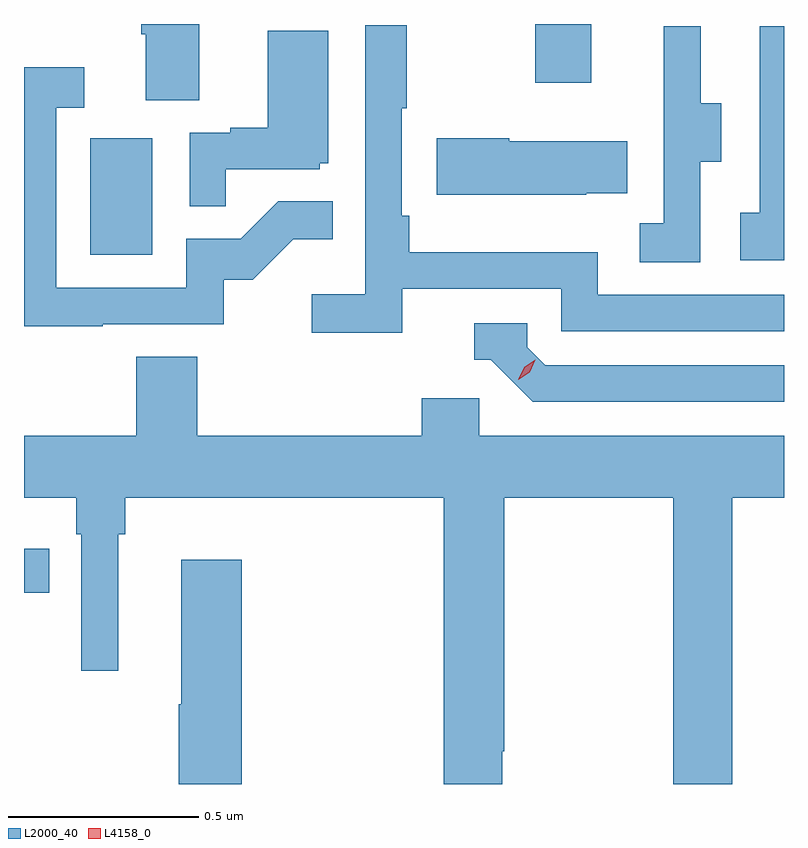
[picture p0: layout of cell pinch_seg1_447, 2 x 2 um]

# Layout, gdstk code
import gdstk
lib = gdstk.Library(unit=1e-6, precision=1e-09)
def R(c, l, rs):  # rectangles x0, y0, x1, y1
    for r in rs: c.add(gdstk.rectangle(r[:2], r[2:], *l))
def P(c, l, *ps):  # polygons
    for p in ps: c.add(gdstk.Polygon(p, *l))
L2000_40 = (2000, 40)
L4158_0 = (4158, 0)

pinch_seg1_447 = lib.new_cell('pinch_seg1_447')
R(pinch_seg1_447, L2000_40, [(925.496,522.178,925.562,522.294), (925.67,523.068,925.834,523.375), (926.842,523.52,926.989,523.675)])
P(pinch_seg1_447, L2000_40, [(925.957,523.675),(925.805,523.675),(925.805,523.648),(925.817,523.648),(925.817,523.474),(925.957,523.474)],
  [(926.492,522.978),(926.91,522.978),(926.91,522.867),(927.496,522.867),(927.496,522.963),(927.006,522.963),(927.006,523.075),(926.51,523.075),(926.51,523.171),(926.49,523.171),(926.49,523.453),(926.503,523.453),(926.503,523.672),(926.394,523.672),(926.394,522.964),(926.253,522.964),(926.253,522.862),(926.492,522.862)],
  [(927.496,523.669),(927.432,523.669),(927.432,523.178),(927.381,523.178),(927.381,523.053),(927.496,523.053)],
  [(927.276,523.312),(927.331,523.312),(927.331,523.467),(927.277,523.467),(927.277,523.669),(927.179,523.669),(927.179,523.455),(927.18,523.455),(927.18,523.151),(927.117,523.151),(927.117,523.048),(927.276,523.048)],
  [(926.027,523.293),(926.274,523.293),(926.274,523.308),(926.296,523.308),(926.296,523.657),(926.138,523.657),(926.138,523.402),(926.039,523.402),(926.039,523.389),(925.932,523.389),(925.932,523.195),(926.027,523.195)],
  [(925.703,522.885),(926.022,522.885),(926.022,523.002),(926.098,523.002),(926.205,523.109),(926.309,523.109),(926.309,523.208),(926.165,523.208),(926.067,523.11),(925.923,523.11),(925.923,522.981),(925.581,522.981),(925.581,523.455),(925.654,523.455),(925.654,523.561),(925.496,523.561),(925.496,522.88),(925.703,522.88)],
  [(926.975,523.229),(927.083,523.229),(927.083,523.366),(926.773,523.366),(926.773,523.374),(926.582,523.374),(926.582,523.226),(926.975,523.226)],
  [(927.496,522.777),(926.868,522.777),(926.82,522.825),(926.82,522.888),(926.681,522.888),(926.681,522.792),(926.724,522.792),(926.835,522.681),(927.496,522.681)],
  [(926.755,521.761),(926.76,521.761),(926.76,522.428),(927.205,522.428),(927.205,521.675),(927.36,521.675),(927.36,522.428),(927.496,522.428),(927.496,522.592),(926.694,522.592),(926.694,522.69),(926.543,522.69),(926.543,522.592),(925.952,522.592),(925.952,522.8),(925.792,522.8),(925.792,522.592),(925.496,522.592),(925.496,522.428),(925.634,522.428),(925.634,522.332),(925.647,522.332),(925.647,521.973),(925.744,521.973),(925.744,522.332),(925.763,522.332),(925.763,522.428),(926.6,522.428),(926.6,521.675),(926.755,521.675)],
  [(926.069,522.265),(925.91,522.265),(925.91,521.885),(925.903,521.885),(925.903,521.675),(926.069,521.675)])
P(pinch_seg1_447, L4158_0, [(926.797,522.739),(926.797,522.739),(926.812,522.772),(926.842,522.792),(926.842,522.792),(926.842,522.792),(926.827,522.759),(926.797,522.739)])

lib.write_gds('pinch_seg1_447.gds')
